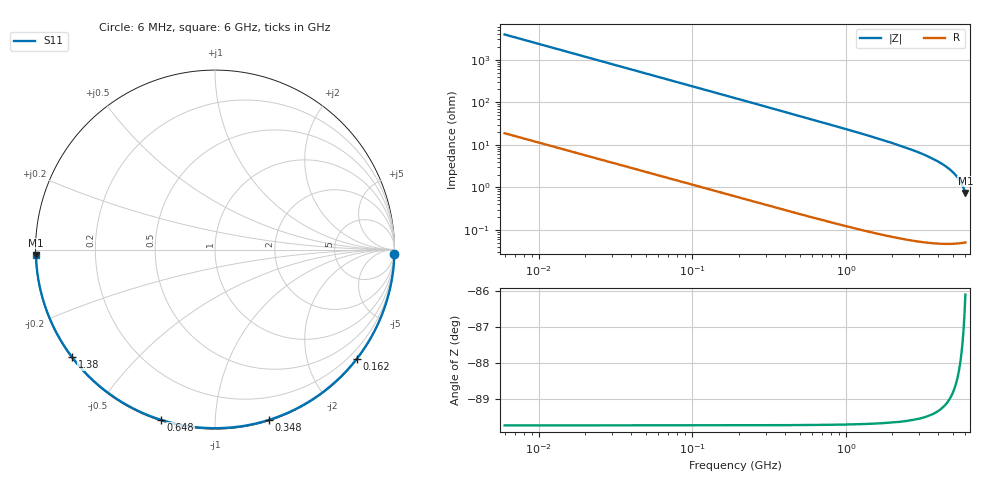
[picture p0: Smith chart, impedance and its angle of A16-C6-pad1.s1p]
! yapnr Order 0 O0-M: A16 port 1, 6 mm C-pad
! stackup OSHPARK-4L-EM528, nominal parameters; geometry of the OSHPARK-4L-FR408HR design
! model: 2D quasi-static RLGC (Djordjevic-Sarkar, Huray roughness, Wheeler loss); generated by python -m yapnr.rf.coupons expected --stackup OSHPARK-4L-FR408HR --upload M
! open-ended wide line + KJK open end; the line-to-pad step not modelled; 50 ohm
# GHz S DB R 50
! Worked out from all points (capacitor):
!   1000 points, 6 MHz to 6 GHz, reference 50 ohm
!   read as one part to ground: C = 6.71 pF near 36 MHz
!   lowest |Z| = 744 mohm at 6 GHz (marker M1)
!   S11 on the Smith chart (normalised r, x): 6 MHz: 0, -78; 162 MHz: 0.01, -2.94; 348 MHz: 0.01, -1.37; 648 MHz: 0.00, -0.73; 1.38 GHz: 0.00, -0.33; 6 GHz: 0.00, -0.01
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0.006  -0.00 -1.5
0.03  -0.01 -7.2
0.054  -0.01 -13.0
0.078  -0.01 -18.6
0.12  -0.02 -28.3
0.162  -0.03 -37.6
0.204  -0.03 -46.4
0.252  -0.04 -55.8
0.3  -0.04 -64.4
0.348  -0.04 -72.3
0.408  -0.04 -81.2
0.474  -0.04 -89.8
0.558  -0.04 -99.2
0.648  -0.04 -107.6
0.756  -0.04 -115.9
0.882  -0.04 -123.8
1.026  -0.03 -130.9
1.188  -0.03 -137.2
1.38  -0.03 -143.0
1.506  -0.03 -146.2
1.854  -0.02 -152.9
2.256  -0.02 -158.3
2.598  -0.02 -161.8
3.006  -0.02 -165.1
3.756  -0.02 -169.6
4.506  -0.02 -173.0
5.256  -0.02 -175.8
6  -0.02 -178.3
